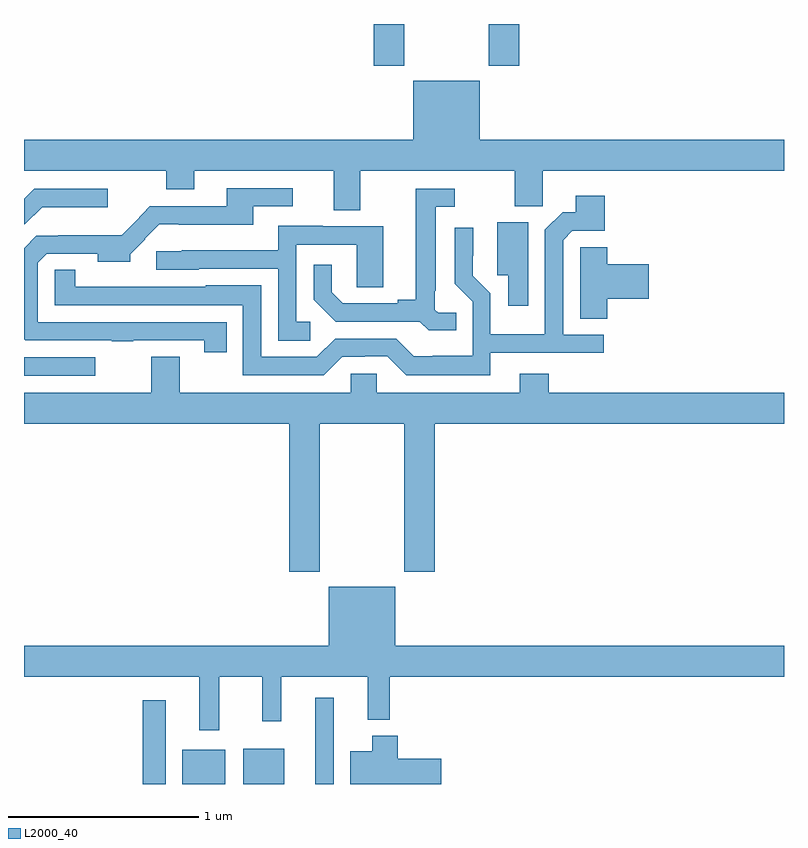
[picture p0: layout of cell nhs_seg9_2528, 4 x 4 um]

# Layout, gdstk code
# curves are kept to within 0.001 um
import gdstk
lib = gdstk.Library(unit=1e-6, precision=1e-09)
def R(c, l, rs):  # rectangles x0, y0, x1, y1
    for r in rs: c.add(gdstk.rectangle(r[:2], r[2:], *l))
def P(c, l, *ps):  # polygons
    for p in ps: c.add(gdstk.Polygon(p, *l))
L2000_40 = (2000, 40)

nhs_seg9_2528 = lib.new_cell('nhs_seg9_2528')
R(nhs_seg9_2528, L2000_40, [(255.624,1218.5,255.745,1218.94), (255.833,1218.5,256.06,1218.679), (256.154,1218.5,256.369,1218.685), (256.532,1218.5,256.629,1218.955), (255,1220.649,255.376,1220.745), (256.841,1222.281,257.001,1222.5), (257.446,1222.281,257.606,1222.5)])
P(nhs_seg9_2528, L2000_40, [(256.771,1221.728),(257.584,1221.728),(257.584,1221.541),(257.73,1221.541),(257.73,1221.728),(259,1221.728),(259,1221.892),(257.398,1221.892),(257.398,1222.201),(257.048,1222.201),(257.048,1221.892),(255,1221.892),(255,1221.728),(255.748,1221.728),(255.748,1221.629),(255.895,1221.629),(255.895,1221.728),(256.631,1221.728),(256.631,1221.52),(256.771,1221.52)],
  [(256.067,1220.931),(255.072,1220.931),(255.072,1221.243),(255.12,1221.291),(255.389,1221.291),(255.389,1221.248),(255.56,1221.248),(255.56,1221.288),(255.639,1221.366),(255.636,1221.369),(255.713,1221.446),(255.814,1221.446),(255.814,1221.443),(256.207,1221.443),(256.207,1221.54),(256.414,1221.54),(256.414,1221.636),(256.067,1221.636),(256.067,1221.54),(255.663,1221.54),(255.587,1221.463),(255.589,1221.461),(255.515,1221.388),(255.181,1221.388),(255.181,1221.386),(255.065,1221.386),(255,1221.321),(255,1220.841),(255.006,1220.835),(255.463,1220.835),(255.463,1220.83),(255.575,1220.83),(255.575,1220.835),(255.949,1220.835),(255.949,1220.772),(256.067,1220.772)],
  [(255.095,1221.536),(255.442,1221.536),(255.442,1221.633),(255.054,1221.633),(255,1221.579),(255,1221.445),(255.004,1221.445)],
  [(257.276,1220.979),(257.181,1220.979),(257.163,1220.997),(257.163,1221.097),(257.167,1221.097),(257.167,1221.537),(257.266,1221.537),(257.266,1221.633),(257.063,1221.633),(257.063,1221.05),(256.967,1221.05),(256.967,1221.03),(256.678,1221.03),(256.621,1221.087),(256.621,1221.232),(256.524,1221.232),(256.524,1221.05),(256.64,1220.934),(257.082,1220.934),(257.13,1220.887),(257.276,1220.887)],
  [(257.455,1220.769),(258.052,1220.769),(258.052,1220.865),(257.838,1220.865),(257.838,1221.363),(257.886,1221.411),(258.056,1221.411),(258.056,1221.595),(257.903,1221.595),(257.903,1221.51),(257.835,1221.51),(257.742,1221.417),(257.742,1220.866),(257.454,1220.866),(257.454,1221.082),(257.363,1221.174),(257.364,1221.427),(257.268,1221.427),(257.268,1221.132),(257.361,1221.039),(257.361,1220.755),(257.152,1220.755),(257.152,1220.751),(257.052,1220.751),(256.959,1220.844),(256.638,1220.844),(256.542,1220.748),(256.248,1220.748),(256.248,1221.124),(255.957,1221.124),(255.957,1221.117),(255.271,1221.118),(255.271,1221.206),(255.162,1221.206),(255.162,1221.021),(256.152,1221.021),(256.152,1220.652),(256.578,1220.652),(256.674,1220.748),(256.794,1220.748),(256.794,1220.751),(256.911,1220.751),(257.011,1220.651),(257.455,1220.651)],
  [(257.653,1221.456),(257.492,1221.456),(257.492,1221.177),(257.549,1221.177),(257.549,1221.018),(257.653,1221.018)],
  [(256.507,1220.934),(256.434,1220.934),(256.434,1221.339),(256.752,1221.339),(256.752,1221.115),(256.891,1221.115),(256.891,1221.435),(256.573,1221.435),(256.573,1221.439),(256.337,1221.439),(256.337,1221.31),(255.831,1221.31),(255.831,1221.303),(255.696,1221.303),(255.696,1221.207),(255.921,1221.207),(255.921,1221.213),(256.338,1221.213),(256.338,1220.833),(256.507,1220.833)],
  [(258.071,1221.053),(258.289,1221.053),(258.289,1221.236),(258.071,1221.236),(258.071,1221.326),(257.928,1221.326),(257.928,1221.218),(257.927,1221.218),(257.927,1220.95),(258.071,1220.95)],
  [(256.557,1220.396),(257.002,1220.396),(257.002,1219.617),(257.162,1219.617),(257.162,1220.396),(259,1220.396),(259,1220.56),(257.762,1220.56),(257.762,1220.659),(257.609,1220.659),(257.609,1220.56),(256.857,1220.56),(256.857,1220.658),(256.719,1220.658),(256.719,1220.56),(255.819,1220.56),(255.819,1220.75),(255.671,1220.75),(255.671,1220.56),(255,1220.56),(255,1220.396),(256.397,1220.396),(256.397,1219.617),(256.557,1219.617)],
  [(256.027,1219.064),(256.255,1219.064),(256.255,1218.831),(256.355,1218.831),(256.355,1219.064),(256.808,1219.064),(256.808,1218.839),(256.925,1218.839),(256.925,1219.064),(259,1219.064),(259,1219.228),(256.954,1219.228),(256.954,1219.537),(256.604,1219.537),(256.604,1219.228),(255,1219.228),(255,1219.064),(255.923,1219.064),(255.923,1218.783),(256.027,1218.783)],
  [(257.197,1218.633),(256.967,1218.633),(256.967,1218.754),(256.832,1218.754),(256.832,1218.673),(256.718,1218.673),(256.718,1218.5),(257.197,1218.5)])

lib.write_gds('nhs_seg9_2528.gds')
